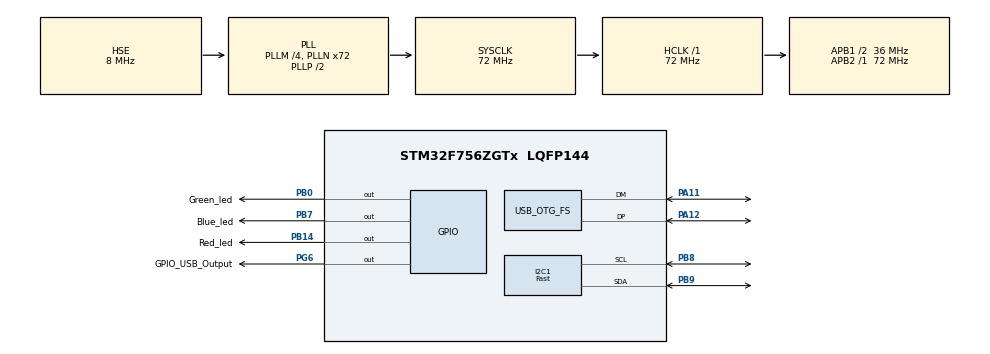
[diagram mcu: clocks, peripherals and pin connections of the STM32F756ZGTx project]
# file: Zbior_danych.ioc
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I2C1.I2C_Speed_Mode=I2C_Fast
I2C1.Timing=0x00301739
Mcu.Family=STM32F7
Mcu.Name=STM32F756ZGTx
Mcu.Package=LQFP144
NVIC.OTG_FS_IRQn=true\:0\:0\:false\:false\:true\:false\:true
NVIC.PriorityGroup=NVIC_PRIORITYGROUP_4
NVIC.TIM6_DAC_IRQn=true\:0\:0\:false\:false\:true\:true\:true
PA11.Mode=Device_Only
PA11.Signal=USB_OTG_FS_DM
PA12.Mode=Device_Only
PA12.Signal=USB_OTG_FS_DP
PA9.Signal=USB_OTG_FS_VBUS
PB0.GPIO_Label=Green_led
PB0.Signal=GPIO_Output
PB14.GPIO_Label=Red_led
PB14.Signal=GPIO_Output
PB7.GPIO_Label=Blue_led
PB7.Signal=GPIO_Output
PB8.Mode=I2C
PB8.Signal=I2C1_SCL
PB9.Mode=I2C
PB9.Signal=I2C1_SDA
PG6.GPIO_Label=GPIO_USB_Output
PG6.Signal=GPIO_Output
PH0/OSC_IN.Mode=HSE-External-Oscillator
PH0/OSC_IN.Signal=RCC_OSC_IN
PH1/OSC_OUT.Mode=HSE-External-Oscillator
PH1/OSC_OUT.Signal=RCC_OSC_OUT
ProjectManager.HeapSize=0x2000
ProjectManager.StackSize=0x1500
ProjectManager.TargetToolchain=STM32CubeIDE
RCC.AHBFreq_Value=72000000
RCC.APB1CLKDivider=RCC_HCLK_DIV2
RCC.APB1Freq_Value=36000000
RCC.APB1TimFreq_Value=72000000
RCC.APB2Freq_Value=72000000
RCC.APB2TimFreq_Value=72000000
RCC.CortexFreq_Value=72000000
RCC.HCLKFreq_Value=72000000
RCC.HSE_VALUE=8000000
RCC.HSI_VALUE=16000000
RCC.LSE_VALUE=32768
RCC.PLLM=4
RCC.PLLN=72
RCC.PLLQ=3
RCC.SYSCLKFreq_VALUE=72000000
RCC.SYSCLKSource=RCC_SYSCLKSOURCE_PLLCLK
RCC.USBFreq_Value=48000000
RCC.VCOOutputFreq_Value=144000000
TIM6.Period=9999
TIM6.Prescaler=719
USB_DEVICE.CLASS_NAME_FS=CDC
USB_DEVICE.USBD_MAX_STR_DESC_SIZ-CDC_FS=512
USB_DEVICE.VirtualMode-CDC_FS=Cdc
USB_DEVICE.VirtualModeFS=Cdc_FS
USB_OTG_FS.VirtualMode=Device_Only
VP_TIM6_VS_ClockSourceINT.Mode=Enable_Timer
VP_USB_DEVICE_VS_USB_DEVICE_CDC_FS.Mode=CDC_FS
board=custom

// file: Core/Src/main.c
/* USER CODE BEGIN Header */
/**
  ******************************************************************************
  * @file           : main.c
  * @brief          : Main program body
  ******************************************************************************
  * @attention
  *
  * <h2><center>&copy; Copyright (c) 2021 STMicroelectronics.
  * All rights reserved.</center></h2>
  *
  * This software component is licensed by ST under BSD 3-Clause license,
  * the "License"; You may not use this file except in compliance with the
  * License. You may obtain a copy of the License at:
  *                        opensource.org/licenses/BSD-3-Clause
  *
  ******************************************************************************
  */
/* USER CODE END Header */
#include "main.h"
#include "i2c.h"
#include "tim.h"
#include "usb_device.h"
#include "gpio.h"

/* USER CODE BEGIN Includes */
#include "lsm6dsox_reg.h"
#include "usbd_cdc_if.h"
#include <string.h>
#include <stdio.h>
/* USER CODE END Includes */

/* USER CODE BEGIN PD */
#define SENSOR_BUS hi2c1
#define ToRad(x) ((x)*0.01745329252)  // *pi/180
#define ToDeg(x) ((x)*57.2957795131)  // *180/pi
/* USER CODE END PD */

/* USER CODE BEGIN PV */
static int16_t data_raw_acceleration[3];
static int16_t data_raw_angular_rate[3];

static float acceleration_mg[3];
static float angular_rate_mdps[3];

float output_data[3] = {0.0f, 0.0f, 0.0f};
float old_data[3] = {0.0f, 0.0f, 0.0f};
uint8_t tx_buffer[1000];
uint8_t whoami, rst;
volatile float pi = 3.141592653589793238f;
// madgwick var
volatile float q0 = 1.0f, q1 = 0.0f, q2 = 0.0f, q3 = 0.0f;
volatile float beta = 0.01f;
volatile float sampleFreq = 10.0f;

const float dt = 0.1f;
// Kalman var
// macierz stanu
float A[6][6] = {{1.0f, 0, 0, -dt, 0, 0},
			     {0, 1.0f, 0, 0, -dt, 0},
			     {0, 0, 1.0f, 0, 0, -dt},
			     {0, 0, 0, 1.0f, 0, 0},
			     {0, 0, 0, 0, 1.0f, 0},
			     {0, 0, 0, 0, 0, 1.0f}};
//macierz wejścia
float B[6][3] = {{dt, 0, 0},
				 {0, dt, 0},
				 {0, 0, dt},
				 {0, 0, 0},
				 {0, 0, 0},
				 {0, 0, 0}};
//macierz wyjścia
float H[3][6] = {{1.0f, 0, 0, 0, 0, 0,},
			     {0, 1.0f, 0, 0, 0, 0,},
			     {0, 0, 1.0f, 0, 0, 0,}};
const float Kq = 0.005f; //bląd modelu
const float Kr = 10.0f; // bląd pomiaru
// macierz kowariancji modelu
float Q[6][6] = {{Kq, 0, 0, 0, 0, 0},
				 {0, Kq, 0, 0, 0, 0},
			     {0, 0, Kq, 0, 0, 0},
				 {0, 0, 0, Kq, 0, 0},
				 {0, 0, 0, 0, Kq, 0},
				 {0, 0, 0, 0, 0, Kq}};
// macierz kowariancji pomiaru
float R[3][3] = {{Kr, 0, 0},
				 {0, Kr, 0},
				 {0, 0, Kr}};
// macierz jednostkowa
float I[6][6] = {{1.0f, 0, 0, 0, 0, 0},
				 {0, 1.0f, 0, 0, 0, 0},
				 {0, 0, 1.0f, 0, 0, 0},
				 {0, 0, 0, 1.0f, 0, 0},
				 {0, 0, 0, 0, 1.0f, 0},
				 {0, 0, 0, 0, 0, 1.0f}};
float x_pri[6];
float p_pri[6][6];
float p_post[6][6];
float mult_A_xpost[6];
float mult_B_gyr_data[6];
float mult_A_ppost[6][6];
float A_trans[6][6];
float mult_A_ppost_A_trans[6][6];
float H_trans[6][3];
float mult_ppri_H_trans[6][3];
float mult_H_ppri[6][3];
float mult_H_ppri_H_trans[3][3];
float H_ppri_H_trans_plus_R_dev_1[3][3];
float GainK[6][3];
float mult_GainK_H[6][6];
float mult_H_x_pri[3];
float acc_data_minus_H_xpri[3];
float mult_GainK_acc_data_minus_H_xpri[6];
float I_minus_GainK_H[6][6];
int filter = 0, notfilter = 0, complem = 1, kalman = 2, madgwick = 3, stOrient = 4;
float offsetX = 0.4431f;
float offsetY = 0.4177f;
float offsetZ = -0.5678f;
stmdev_ctx_t dev_ctx;
/* USER CODE END PV */

void SystemClock_Config(void);
/* USER CODE BEGIN PFP */

static int32_t platform_write(void *handle, uint8_t reg, const uint8_t *bufp,
                              uint16_t len);
static int32_t platform_read(void *handle, uint8_t reg, uint8_t *bufp,
                             uint16_t len);
void tx_com(uint8_t *tx_buffer, uint16_t len);
static void platform_delay(uint32_t ms);
int32_t complementary_filter(float acc_data[], float gyr_data[]);
int32_t kalman_filter(float acc_data[], float gyr_data[]);
int32_t madgwick_filter(float acc_data[], float gyr_data[]);
void mult_matrix(int m, int n, int l, float A[m][n], float B[n][l], float C[m][l]);
float invSqrt(float x);

void HAL_TIM_PeriodElapsedCallback(TIM_HandleTypeDef *htim)
{
		uint8_t reg;

		/* Read output only if new values is available */
		lsm6dsox_xl_flag_data_ready_get(&dev_ctx, &reg);

		if (reg)
		{
			/* Read data */
			memset(data_raw_acceleration, 0x00, 3 * sizeof(int16_t));
			lsm6dsox_acceleration_raw_get(&dev_ctx, data_raw_acceleration);
			acceleration_mg[0] = lsm6dsox_from_fs2_to_mg(data_raw_acceleration[0])/1000.0f;
			acceleration_mg[1] = lsm6dsox_from_fs2_to_mg(data_raw_acceleration[1])/1000.0f;
			acceleration_mg[2] = lsm6dsox_from_fs2_to_mg(data_raw_acceleration[2])/1000.0f;
			memset(data_raw_angular_rate, 0x00, 3 * sizeof(int16_t));
			lsm6dsox_angular_rate_raw_get(&dev_ctx, data_raw_angular_rate);
			angular_rate_mdps[0] = lsm6dsox_from_fs250_to_mdps(data_raw_angular_rate[0])/1000.0f;
			angular_rate_mdps[1] = lsm6dsox_from_fs250_to_mdps(data_raw_angular_rate[1])/1000.0f;
			angular_rate_mdps[2] = lsm6dsox_from_fs250_to_mdps(data_raw_angular_rate[2])/1000.0f;

			/*Filter data*/
			if (filter == complem)
				complementary_filter(acceleration_mg, angular_rate_mdps);
			else if (filter == kalman)
				kalman_filter(acceleration_mg, angular_rate_mdps);
			else if (filter == madgwick)
				madgwick_filter(acceleration_mg, angular_rate_mdps);

			/*Transmit data*/
			if (filter == notfilter)
			{
				sprintf((char *)tx_buffer,
					   "%4.2f,%4.2f,%4.2f,%4.2f,%4.2f,%4.2f\r",
					   acceleration_mg[0], acceleration_mg[1], acceleration_mg[2],
					   angular_rate_mdps[0], angular_rate_mdps[1], angular_rate_mdps[2]);
			}
			else
			{
				sprintf((char *)tx_buffer,
						"%.2f,%.2f,%.2f\r",
						output_data[0], output_data[1], output_data[2]);
			}
		}
	}
/* USER CODE END PFP */

int main(void)
{

  /* MCU Configuration--------------------------------------------------------*/

  /* Reset of all peripherals, Initializes the Flash interface and the Systick. */
  HAL_Init();

  /* Configure the system clock */
  SystemClock_Config();

  /* Initialize all configured peripherals */
  MX_GPIO_Init();
  MX_I2C1_Init();
  MX_USB_DEVICE_Init();
  MX_TIM6_Init();
  /* USER CODE BEGIN 2 */
  /* Initialize mems driver interface */
  dev_ctx.write_reg = platform_write;
  dev_ctx.read_reg = platform_read;
  dev_ctx.handle = &SENSOR_BUS;
  /* Wait Boot Time */
  platform_delay(10);
  /* Check device ID */
  lsm6dsox_device_id_get(&dev_ctx, &whoami);

  if (whoami != LSM6DSOX_ID)
	  while(1)
	  {
		  HAL_GPIO_TogglePin(Red_led_GPIO_Port, Red_led_Pin);
		  HAL_Delay(500);
	  }

  /* Restore default configuration */
  lsm6dsox_reset_set(&dev_ctx, PROPERTY_ENABLE);

  do {
	  lsm6dsox_reset_get(&dev_ctx, &rst);
  } while (rst);

  /* Disable I3C interface */
  lsm6dsox_i3c_disable_set(&dev_ctx, LSM6DSOX_I3C_DISABLE);
  /* Enable Block Data Update */
  lsm6dsox_block_data_update_set(&dev_ctx, PROPERTY_ENABLE);
  /* Set XL and Gyro Output Data Rate */
  lsm6dsox_xl_data_rate_set(&dev_ctx, LSM6DSOX_XL_ODR_417Hz);
  lsm6dsox_gy_data_rate_set(&dev_ctx, LSM6DSOX_GY_ODR_417Hz);
  /* Set 2g full XL scale and 250 dps full Gyro */
  lsm6dsox_xl_full_scale_set(&dev_ctx, LSM6DSOX_2g);
  lsm6dsox_gy_full_scale_set(&dev_ctx, LSM6DSOX_250dps);

  HAL_GPIO_WritePin(Green_led_GPIO_Port, Green_led_Pin, GPIO_PIN_SET);

  /* USER CODE END 2 */

  /* Infinite loop */
  /* USER CODE BEGIN WHILE */
  memset(old_data, 0.0f, sizeof(old_data));
  filter = madgwick;
  HAL_TIM_Base_Start_IT(&htim6);
  while (1)
  {

    /* USER CODE END WHILE */

  }
}

void SystemClock_Config(void)
{
  RCC_OscInitTypeDef RCC_OscInitStruct = {0};
  RCC_ClkInitTypeDef RCC_ClkInitStruct = {0};
  RCC_PeriphCLKInitTypeDef PeriphClkInitStruct = {0};

  /** Configure the main internal regulator output voltage
  */
  __HAL_RCC_PWR_CLK_ENABLE();
  __HAL_PWR_VOLTAGESCALING_CONFIG(PWR_REGULATOR_VOLTAGE_SCALE3);
  /** Initializes the RCC Oscillators according to the specified parameters
  * in the RCC_OscInitTypeDef structure.
  */
  RCC_OscInitStruct.OscillatorType = RCC_OSCILLATORTYPE_HSE;
  RCC_OscInitStruct.HSEState = RCC_HSE_ON;
  RCC_OscInitStruct.PLL.PLLState = RCC_PLL_ON;
  RCC_OscInitStruct.PLL.PLLSource = RCC_PLLSOURCE_HSE;
  RCC_OscInitStruct.PLL.PLLM = 4;
  RCC_OscInitStruct.PLL.PLLN = 72;
  RCC_OscInitStruct.PLL.PLLP = RCC_PLLP_DIV2;
  RCC_OscInitStruct.PLL.PLLQ = 3;
  if (HAL_RCC_OscConfig(&RCC_OscInitStruct) != HAL_OK)
  {
    Error_Handler();
  }
  /** Initializes the CPU, AHB and APB buses clocks
  */
  RCC_ClkInitStruct.ClockType = RCC_CLOCKTYPE_HCLK|RCC_CLOCKTYPE_SYSCLK
                              |RCC_CLOCKTYPE_PCLK1|RCC_CLOCKTYPE_PCLK2;
  RCC_ClkInitStruct.SYSCLKSource = RCC_SYSCLKSOURCE_PLLCLK;
  RCC_ClkInitStruct.AHBCLKDivider = RCC_SYSCLK_DIV1;
  RCC_ClkInitStruct.APB1CLKDivider = RCC_HCLK_DIV2;
  RCC_ClkInitStruct.APB2CLKDivider = RCC_HCLK_DIV1;

  if (HAL_RCC_ClockConfig(&RCC_ClkInitStruct, FLASH_LATENCY_2) != HAL_OK)
  {
    Error_Handler();
  }
  PeriphClkInitStruct.PeriphClockSelection = RCC_PERIPHCLK_I2C1|RCC_PERIPHCLK_CLK48;
  PeriphClkInitStruct.I2c1ClockSelection = RCC_I2C1CLKSOURCE_PCLK1;
  PeriphClkInitStruct.Clk48ClockSelection = RCC_CLK48SOURCE_PLL;
  if (HAL_RCCEx_PeriphCLKConfig(&PeriphClkInitStruct) != HAL_OK)
  {
    Error_Handler();
  }
}

/* USER CODE BEGIN 4 */

static int32_t platform_write(void *handle, uint8_t reg, const uint8_t *bufp,
                              uint16_t len)
{

  HAL_I2C_Mem_Write(handle, LSM6DSOX_I2C_ADD_L, reg,
                    I2C_MEMADD_SIZE_8BIT, (uint8_t*) bufp, len, 1000);
  return 0;
}

static int32_t platform_read(void *handle, uint8_t reg, uint8_t *bufp,
                             uint16_t len)
{
  HAL_I2C_Mem_Read(handle, LSM6DSOX_I2C_ADD_L, reg,
                   I2C_MEMADD_SIZE_8BIT, bufp, len, 1000);
  return 0;
}

void tx_com(uint8_t *tx_buffer, uint16_t len)
{
	CDC_Transmit_FS(tx_buffer, len);
}

int32_t complementary_filter(float acc_data[], float gyr_data[])
{
	float acc_data_[3] = {0.0f, 0.0f, 0.0f};
	float gyr_data_[3] = {0.0f, 0.0f, 0.0f};
	acc_data_[0] = atan(acc_data[0]/sqrt(acc_data[1] * acc_data[1] + acc_data[2] * acc_data[2]));
	acc_data_[1] = atan(acc_data[1]/sqrt(acc_data[0] * acc_data[0] + acc_data[2] * acc_data[2]));
	acc_data_[2] = atan(acc_data[2]/sqrt(acc_data[0] * acc_data[0] + acc_data[1] * acc_data[1]));
	gyr_data_[0] = gyr_data[0] - offsetX;
	gyr_data_[1] = gyr_data[1] - offsetY;
	gyr_data_[2] = gyr_data[2] - offsetZ;
	float k = 0.9995f;

	for (int i = 0; i < 3; i++)
	{
		output_data[i] = k * (old_data[i] + gyr_data_[i] * dt) + (1-k) * acc_data_[i];
		old_data[i] = output_data[i];
	}

	return 0;
}

int32_t kalman_filter(float acc_data[], float gyr_data[])
{
	//init
	float acc_data_[3];
	float gyr_data_[3];
	acc_data_[0] = atan(acc_data[0]/sqrt(acc_data[1] * acc_data[1] + acc_data[2] * acc_data[2]));
	acc_data_[1] = atan(acc_data[1]/sqrt(acc_data[0] * acc_data[0] + acc_data[2] * acc_data[2]));
	acc_data_[2] = atan(acc_data[2]/sqrt(acc_data[0] * acc_data[0] + acc_data[1] * acc_data[1]));
	gyr_data_[0] = gyr_data[0] - offsetX;
	gyr_data_[1] = gyr_data[1] - offsetY;
	gyr_data_[2] = gyr_data[2] - offsetZ;
	memset(x_pri, 0.0f, sizeof(x_pri));
	memset(p_pri, 0.0f, sizeof(p_pri));
	float x_post[6] = {output_data[0], output_data[1], output_data[2], 0.0f, 0.0f, 0.0f};
	memset(p_post, 0.0f, sizeof(p_post));
	memset(mult_A_xpost, 0.0f, sizeof(mult_A_xpost));
	memset(mult_B_gyr_data, 0.0f, sizeof(mult_B_gyr_data));
	memset(mult_A_ppost, 0.0f, sizeof(mult_A_ppost));
	memset(A_trans, 0.0f, sizeof(A_trans));
	memset(mult_A_ppost_A_trans, 0.0f, sizeof(mult_A_ppost_A_trans));
	memset(H_trans, 0.0f, sizeof(H_trans));
	memset(mult_ppri_H_trans, 0.0f, sizeof(mult_ppri_H_trans));
	memset(mult_H_ppri, 0.0f, sizeof(mult_H_ppri));
	memset(mult_H_ppri_H_trans, 0.0f, sizeof(mult_H_ppri_H_trans));
	memset(H_ppri_H_trans_plus_R_dev_1, 0.0f, sizeof(H_ppri_H_trans_plus_R_dev_1));
	memset(GainK, 0.0f, sizeof(GainK));
	memset(mult_GainK_H, 0.0f, sizeof(mult_GainK_H));
	memset(mult_H_x_pri, 0.0f, sizeof(mult_H_x_pri));
	memset(acc_data_minus_H_xpri, 0.0f, sizeof(acc_data_minus_H_xpri));
	memset(mult_GainK_acc_data_minus_H_xpri, 0.0f, sizeof(mult_GainK_acc_data_minus_H_xpri));
	memset(I_minus_GainK_H, 0.0f, sizeof(I_minus_GainK_H));

	//Predykcja

	// A * x_post
	for (int i = 0; i < 6; i++)
	{
		for (int j = 0; j < 6; j++)
		{
			mult_A_xpost[i] += A[i][j] * x_post[j];
		}
	}

	// B * gyr_data
	for (int i = 0; i < 6; i++)
	{
		for (int j = 0; j < 3; j++)
		{
			mult_B_gyr_data[i] += B[i][j] * gyr_data_[j];
		}
	}

	//x_pri = A * x_post + B * gyr_data

	for (int i = 0; i < 6; i++)
	{
		x_pri[i] = mult_A_xpost[i] + mult_B_gyr_data[i];
	}

	// A * p_post
	mult_matrix(6, 6, 6, A, p_post, mult_A_ppost);
	// A'
	for (int i = 0; i < 6; i++)
	{
		for (int j = 0; j < 6; j++)
		{
			A_trans[i][j] = A[j][i];
		}
	}
	//A' * A * p_post
	mult_matrix(6, 6, 6, mult_A_ppost, A_trans, mult_A_ppost_A_trans);
	// p_pri = A * p_post * A' + Q
	for (int i = 0; i < 6; i++)
	{
		for (int j = 0; j < 6; j++)
		{
			p_pri[i][j] = mult_A_ppost_A_trans[i][j] + Q[i][j];
		}
	}

	//Korekcja
	// K = P_pri * H' * 1/(H * p_pri * H' + R)
	// H'
	for (int i = 0; i < 6; i++)
	{
		for (int j = 0; j < 3; j++)
		{
			H_trans[i][j] = H[j][i];
		}
	}

	mult_matrix(6, 6, 3, p_pri, H_trans, mult_ppri_H_trans);

	mult_matrix(3, 6, 6, H, p_pri, mult_H_ppri);

	mult_matrix(3, 6, 3, mult_H_ppri, H_trans, mult_H_ppri_H_trans);

	for (int i = 0; i < 3; i++)
	{
		for (int j = 0; j < 3; j++)
		{
			if (i == j)
				H_ppri_H_trans_plus_R_dev_1[i][j] = 1.0f/(mult_H_ppri_H_trans[i][j] + R[i][j]);
			else
				H_ppri_H_trans_plus_R_dev_1[i][j] = (mult_H_ppri_H_trans[i][j] + R[i][j]);
		}
	}

	mult_matrix(6, 3, 3, mult_ppri_H_trans, H_ppri_H_trans_plus_R_dev_1, GainK);

	// x_post = xpri + GainK * (acc_data - H * x_pri)

	for (int k = 0; k < 3; k++)
	{
		for (int j = 0; j < 6; j++)
		{
			mult_H_x_pri[k] += H[k][j] * x_pri[j];
		}
	}

	for (int i = 0; i < 3; i++)
	{
		acc_data_minus_H_xpri[i] = acc_data_[i] - mult_H_x_pri[i];
	}

	for (int k = 0; k < 6; k++)
	{
		for (int j = 0; j < 3; j++)
		{
			mult_GainK_acc_data_minus_H_xpri[k] += GainK[k][j] * acc_data_minus_H_xpri[j];
		}
	}

	for (int i = 0; i < 6; i++)
	{
		x_post[i] = x_pri[i] + mult_GainK_acc_data_minus_H_xpri[i];
	}

	//p_post = (I - K * H) * P_pri

	mult_matrix(6, 3, 6, GainK, H, mult_GainK_H);

	for (int i = 0; i < 6; i++)
	{
		for (int j = 0; j < 6; j++)
		{
			I_minus_GainK_H[i][j] = I[i][j] - mult_GainK_H[i][j];
		}
	}

	mult_matrix(6, 6, 6, I_minus_GainK_H, p_pri, p_post);

	output_data[0] = x_post[0];
	output_data[1] = x_post[1];
	output_data[2] = x_post[2];
	return 0;
}

void mult_matrix(int m, int n, int l, float A[m][n], float B[n][l], float C[m][l])
{
	for (int k = 0; k < 6; k++)
	{
		for (int i = 0; i < 6; i++)
		{
			for (int j = 0; j < 6; j++)
			{
				C[k][i] += A[k][j] * B[j][i];
			}
		}
	}
}

int32_t madgwick_filter(float acc_data[], float gyr_data[])
{

	float ax = acc_data[0];
	float ay = acc_data[1];
	float az = acc_data[2];
	float gx = ToRad(gyr_data[0] - offsetX);
	float gy = ToRad(gyr_data[1] - offsetY);
	float gz = ToRad(gyr_data[2] - offsetZ);

	float recipNorm;
	float s0, s1, s2, s3;
	float qDot1, qDot2, qDot3, qDot4;
	float _2q0, _2q1, _2q2, _2q3, _4q0, _4q1, _4q2 ,_8q1, _8q2, q0q0, q1q1, q2q2, q3q3;

	// Rate of change of quaternion from gyroscope
	qDot1 = 0.5f * (-q1 * gx - q2 * gy - q3 * gz);
	qDot2 = 0.5f * (q0 * gx + q2 * gz - q3 * gy);
	qDot3 = 0.5f * (q0 * gy - q1 * gz + q3 * gx);
	qDot4 = 0.5f * (q0 * gz + q1 * gy - q2 * gx);

	// Compute feedback only if accelerometer measurement valid (avoids NaN in accelerometer normalisation)
	if(!((ax == 0.0f) && (ay == 0.0f) && (az == 0.0f))) {

		// Normalise accelerometer measurement
		recipNorm = invSqrt(ax * ax + ay * ay + az * az);
		ax *= recipNorm;
		ay *= recipNorm;
		az *= recipNorm;

		// Auxiliary variables to avoid repeated arithmetic
		_2q0 = 2.0f * q0;
		_2q1 = 2.0f * q1;
		_2q2 = 2.0f * q2;
		_2q3 = 2.0f * q3;
		_4q0 = 4.0f * q0;
		_4q1 = 4.0f * q1;
		_4q2 = 4.0f * q2;
		_8q1 = 8.0f * q1;
		_8q2 = 8.0f * q2;
		q0q0 = q0 * q0;
		q1q1 = q1 * q1;
		q2q2 = q2 * q2;
		q3q3 = q3 * q3;

		// Gradient decent algorithm corrective step
		s0 = _4q0 * q2q2 + _2q2 * ax + _4q0 * q1q1 - _2q1 * ay;
		s1 = _4q1 * q3q3 - _2q3 * ax + 4.0f * q0q0 * q1 - _2q0 * ay - _4q1 + _8q1 * q1q1 + _8q1 * q2q2 + _4q1 * az;
		s2 = 4.0f * q0q0 * q2 + _2q0 * ax + _4q2 * q3q3 - _2q3 * ay - _4q2 + _8q2 * q1q1 + _8q2 * q2q2 + _4q2 * az;
		s3 = 4.0f * q1q1 * q3 - _2q1 * ax + 4.0f * q2q2 * q3 - _2q2 * ay;
		recipNorm = invSqrt(s0 * s0 + s1 * s1 + s2 * s2 + s3 * s3); // normalise step magnitude
		s0 *= recipNorm;
		s1 *= recipNorm;
		s2 *= recipNorm;
		s3 *= recipNorm;

		// Apply feedback step
		qDot1 -= beta * s0;
		qDot2 -= beta * s1;
		qDot3 -= beta * s2;
		qDot4 -= beta * s3;
	}

	// Integrate rate of change of quaternion to yield quaternion
	q0 += qDot1 * (1.0f / sampleFreq);
	q1 += qDot2 * (1.0f / sampleFreq);
	q2 += qDot3 * (1.0f / sampleFreq);
	q3 += qDot4 * (1.0f / sampleFreq);

	// Normalise quaternion
	recipNorm = invSqrt(q0 * q0 + q1 * q1 + q2 * q2 + q3 * q3);
	q0 *= recipNorm;
	q1 *= recipNorm;
	q2 *= recipNorm;
	q3 *= recipNorm;

	// quatern2euler
	output_data[0] = ToDeg(atan2(2*(q0*q1+q2*q3),1-2*(q1*q1+q2*q2)));
	output_data[1] = ToDeg(asin(2*(q0*q2-q3*q1)));
	output_data[2] = ToDeg(atan2(2*(q0*q3+q1*q2),1-2*(q2*q2+q3*q3)));

	return 0;
}

float invSqrt(float x) {
	float halfx = 0.5f * x;
	float y = x;
	long i = *(long*)&y;
	i = 0x5f3759df - (i>>1);
	y = *(float*)&i;
	y = y * (1.5f - (halfx * y * y));
	return y;
}

static void platform_delay(uint32_t ms)
{
  HAL_Delay(ms);
}
/* USER CODE END 4 */

void Error_Handler(void)
{
  __disable_irq();
  while (1)
  {
  }
}

/************************ (C) COPYRIGHT STMicroelectronics *****END OF FILE****/
